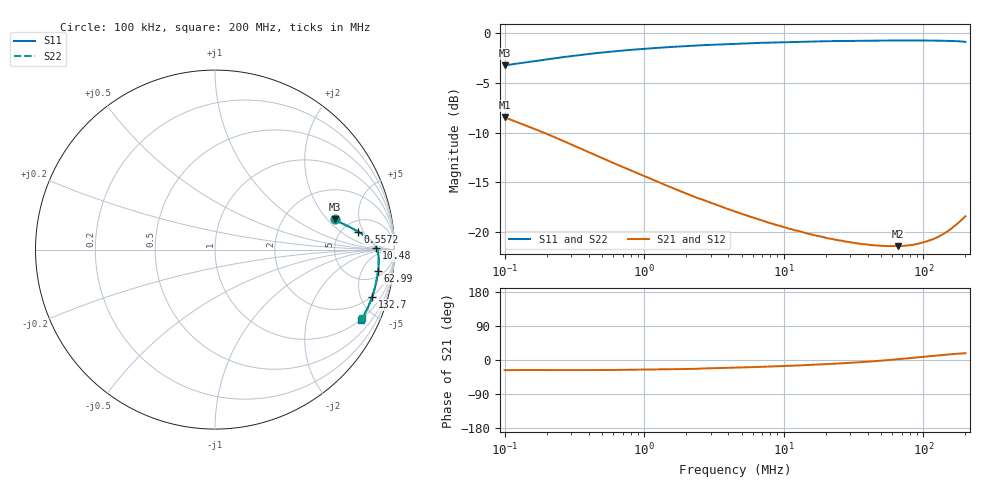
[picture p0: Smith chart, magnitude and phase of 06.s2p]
#  HZ  S  RI  R  50.00
! Rohde & Schwarz Vector Network Analyzer
! Rohde-Schwarz,ZNLE6-2Port,1323001256200024,1.71.1.10-23.02.1.238
! Created: UTC 4/11/2025, 7:23:51 AM
! freq[Hz]  re:S11  im:S11  re:S21  im:S21  re:S12  im:S12  re:S22  im:S22
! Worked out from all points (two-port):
!   1001 points, 100 kHz to 200 MHz, reference 50 ohm
!   highest |S21| = -8.47 dB at 100 kHz (marker M1); lowest = -21.4 dB at 65.93 MHz (marker M2)
!   |S21| within 3 dB of the highest: start of sweep to 333.1 kHz
!   lowest |S11| = -3.3 dB at 100 kHz (marker M3), VSWR 5.40, Z = 188 + j121 ohm
!   |S11| at or under -10 dB: nowhere
!   |S22| runs from -3.3 to -0.8 dB; largest |S21 - S12| = 0.0028
!   S11 on the Smith chart (normalised r, x): 100 kHz: 3.76, +2.42; 557.2 kHz: 6.95, +3.91; 10.48 MHz: 19, +2; 62.99 MHz: 7, -11; 132.7 MHz: 1.95, -6.22; 200 MHz: 0.98, -4.13
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100000  0.6663 0.1697  0.3366 -0.1704  0.337 -0.1705  0.6659 0.1695
190804  0.7194 0.1404  0.2827 -0.1414  0.2831 -0.1415  0.7191 0.1404
355854.1  0.768 0.1166  0.2338 -0.1176  0.234 -0.1177  0.7677 0.1166
557227.8  0.7975 0.0996  0.2042 -0.1012  0.2045 -0.1014  0.7972 0.0997
1266322  0.8391 0.072  0.1618 -0.0753  0.1619 -0.0755  0.839 0.0721
2397897  0.8633 0.0533  0.1368 -0.0585  0.1369 -0.0585  0.8631 0.0533
4472136  0.8817 0.0351  0.1195 -0.044  0.1189 -0.0449  0.8818 0.0364
1.047684e7  0.8994 0.00904  0.1014 -0.0284  0.1011 -0.0292  0.8995 0.0103
1.591428e7  0.9057 -0.00776  0.0951 -0.0216  0.0948 -0.0225  0.9058 -0.00604
2.945577e7  0.9117 -0.0422  0.0886 -0.0119  0.0885 -0.0122  0.9117 -0.0399
3.931964e7  0.9125 -0.0654  0.0867 -0.00705  0.0865 -0.00735  0.9125 -0.0622
5.663162e7  0.9102 -0.1051  0.0853 -0.000119  0.085 -0.00174  0.9109 -0.0992
6.299027e7  0.9091 -0.1177  0.0854 0.00181  0.0853 0.00147  0.9095 -0.1126
6.592947e7  0.908 -0.126  0.0852 0.00318  0.0854 0.000471  0.9089 -0.1185
7.733948e7  0.9043 -0.1491  0.0857 0.00675  0.0856 0.0049  0.9055 -0.1418
9.211385e7  0.8987 -0.1795  0.087 0.0112  0.0872 0.00924  0.9003 -0.1715
1.139604e8  0.8877 -0.2238  0.0902 0.0168  0.0904 0.0148  0.8901 -0.2148
1.326705e8  0.8755 -0.2627  0.0939 0.0214  0.094 0.0196  0.879 -0.2521
1.486928e8  0.8632 -0.2959  0.0978 0.0253  0.0981 0.0234  0.8679 -0.2834
1.6665e8  0.8477 -0.3317  0.1032 0.0296  0.1036 0.0274  0.8538 -0.3178
1.925417e8  0.8207 -0.3814  0.1121 0.0347  0.1125 0.0327  0.8291 -0.3659
2e8  0.8112 -0.3941  0.1147 0.0368  0.1157 0.0348  0.8211 -0.3793
